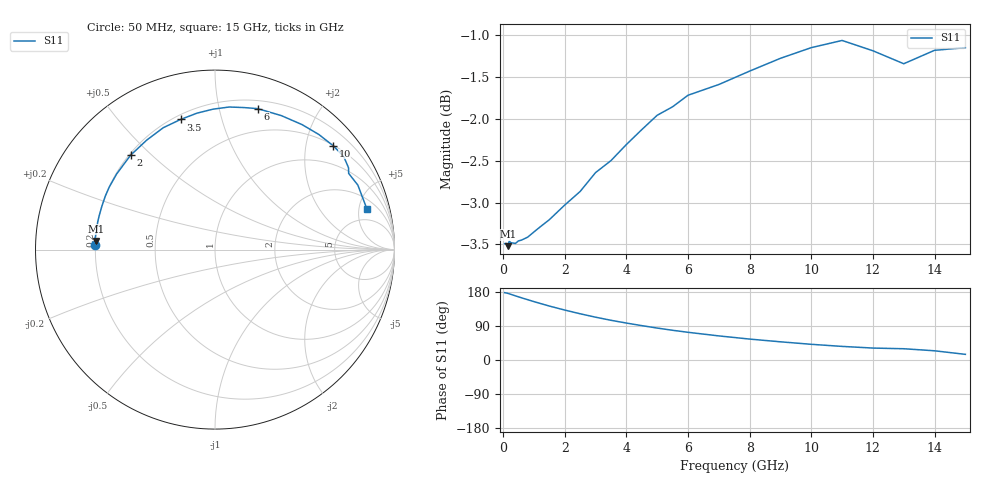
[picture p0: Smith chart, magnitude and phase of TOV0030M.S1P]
! SIEMENS Small Signal Semiconductors
! BAT15-03W
! Si Schottky Diode in SOD323
! IF = 30 mA
! S-Parameters:  May  1996
# GHz  S  MA  R  50
!  f  S11
! GHz  MAG  ANG
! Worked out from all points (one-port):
!   31 points, 50 MHz to 15 GHz, reference 50 ohm
!   lowest |S11| = -3.5 dB at 150 MHz (marker M1), VSWR 5.00, Z = 10 + j1.72 ohm
!   |S11| at or under -10 dB: nowhere
!   S11 on the Smith chart (normalised r, x): 50 MHz: 0.20, +0.02; 2 GHz: 0.21, +0.43; 3.5 GHz: 0.22, +0.75; 6 GHz: 0.27, +1.31; 10 GHz: 0.51, +2.56; 15 GHz: 3.13, +6.07
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0.05  0.669 177.7
0.1  0.6693 176.9
0.15  0.6666 175.9
0.2  0.6712 174.7
0.4  0.6691 169.3
0.5  0.6715 166.7
0.8  0.675 159.1
1  0.6798 154.1
1.2  0.6845 149.4
1.5  0.6914 142.4
2  0.7055 131.8
2.5  0.7188 122.0
3  0.7377 113.0
3.5  0.75 104.8
4  0.7668 97.5
4.5  0.7828 90.7
5  0.7984 84.3
5.5  0.8078 78.4
6  0.8208 73.1
7  0.833 63.6
8  0.8485 55.2
9  0.8636 48.0
10  0.8764 41.4
11  0.8851 35.9
12  0.8726 31.5
13  0.8572 29.7
14  0.8732 24.3
15  0.8763 14.9
